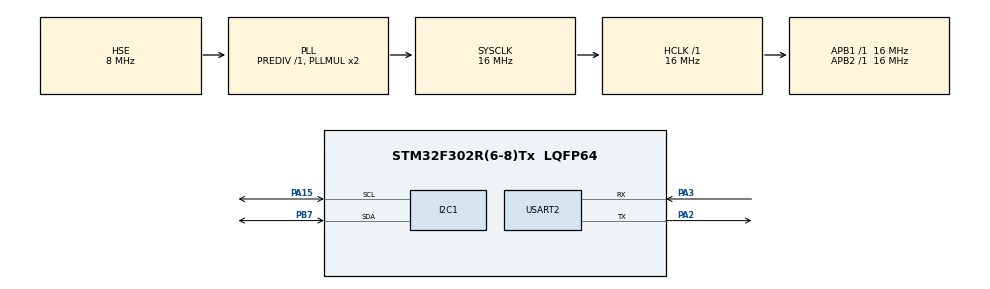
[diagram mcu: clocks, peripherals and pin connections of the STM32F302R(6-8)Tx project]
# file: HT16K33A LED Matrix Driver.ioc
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I2C1.Timing=0x00201D2B
Mcu.Family=STM32F3
Mcu.Name=STM32F302R(6-8)Tx
Mcu.Package=LQFP64
NVIC.PriorityGroup=NVIC_PRIORITYGROUP_4
PA13.Mode=Serial_Wire
PA13.Signal=SYS_JTMS-SWDIO
PA14.Mode=Serial_Wire
PA14.Signal=SYS_JTCK-SWCLK
PA15.Mode=I2C
PA15.Signal=I2C1_SCL
PA2.Mode=Asynchronous
PA2.Signal=USART2_TX
PA3.Mode=Asynchronous
PA3.Signal=USART2_RX
PB7.Mode=I2C
PB7.Signal=I2C1_SDA
PF0-OSC_IN.Mode=HSE-External-Oscillator
PF0-OSC_IN.Signal=RCC_OSC_IN
PF1-OSC_OUT.Mode=HSE-External-Oscillator
PF1-OSC_OUT.Signal=RCC_OSC_OUT
ProjectManager.HeapSize=0x200
ProjectManager.StackSize=0x400
ProjectManager.TargetToolchain=STM32CubeIDE
RCC.AHBFreq_Value=16000000
RCC.APB1Freq_Value=16000000
RCC.APB1TimFreq_Value=16000000
RCC.APB2Freq_Value=16000000
RCC.APB2TimFreq_Value=16000000
RCC.CortexFreq_Value=16000000
RCC.HCLKFreq_Value=16000000
RCC.HSE_VALUE=8000000
RCC.HSI_VALUE=8000000
RCC.LSE_VALUE=32768
RCC.PLLSourceVirtual=RCC_PLLSOURCE_HSE
RCC.SYSCLKFreq_VALUE=16000000
RCC.SYSCLKSourceVirtual=RCC_SYSCLKSOURCE_PLLCLK
RCC.USBFreq_Value=16000000
USART2.VirtualMode-Asynchronous=VM_ASYNC
board=custom

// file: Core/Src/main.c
/* USER CODE BEGIN Header */
/**
  ******************************************************************************
  * @file           : main.c
  * @brief          : Main program body
  ******************************************************************************
  * @attention
  *
  * Copyright (c) 2025 STMicroelectronics.
  * All rights reserved.
  *
  * This software is licensed under terms that can be found in the LICENSE file
  * in the root directory of this software component.
  * If no LICENSE file comes with this software, it is provided AS-IS.
  *
  ******************************************************************************
  */
/* USER CODE END Header */
#include "main.h"

/* USER CODE BEGIN Includes */
#include <stdio.h>

#include "HT16K33A.h"
/* USER CODE END Includes */

I2C_HandleTypeDef hi2c1;

UART_HandleTypeDef huart2;

/* USER CODE BEGIN PV */
HT16K33A_t dev;
uint8_t dev_addr = HT16K33A_ADDR_1;

char message[15];
/* USER CODE END PV */

void SystemClock_Config(void);
static void MX_GPIO_Init(void);
static void MX_I2C1_Init(void);
static void MX_USART2_UART_Init(void);

int main(void)
{

  /* MCU Configuration--------------------------------------------------------*/

  /* Reset of all peripherals, Initializes the Flash interface and the Systick. */
  HAL_Init();

  /* Configure the system clock */
  SystemClock_Config();

  /* Initialize all configured peripherals */
  MX_GPIO_Init();
  MX_I2C1_Init();
  MX_USART2_UART_Init();
  /* USER CODE BEGIN 2 */
  HT16K33A_Init(&dev, &hi2c1, dev_addr);

  uint8_t data[8] = {
		  0b00000000,
		  0b01100110,
		  0b10011001,
		  0b10000001,
		  0b01000010,
		  0b00100100,
		  0b00011000,
		  0b00000000
  };
  HT16K33A_SetAll(&dev, data);

//  HT16K33A_SetColumn(&dev, 0x2, 0b10011001);
//  HAL_StatusTypeDef status = HT16K33A_SetColumn(&dev, 0x2, 0b10011001);
//  HAL_StatusTypeDef status = HT16K33A_SetSingle(&dev, 0, 0, 1);
//  sprintf (message, "%s\r\n", (status == HAL_OK ? "OK" : (status == HAL_ERROR ? "ERROR" : (status == HAL_BUSY ? "BUSY" : (status == HAL_TIMEOUT ? "TIMEOUT" : "NOTHING")))));
//  HAL_UART_Transmit (&huart2, (uint8_t *) message, 15, HAL_MAX_DELAY);
  /* USER CODE END 2 */

  /* Infinite loop */
  while (1)
  {

  }
}

void SystemClock_Config(void)
{
  RCC_OscInitTypeDef RCC_OscInitStruct = {0};
  RCC_ClkInitTypeDef RCC_ClkInitStruct = {0};
  RCC_PeriphCLKInitTypeDef PeriphClkInit = {0};

  /** Initializes the RCC Oscillators according to the specified parameters
  * in the RCC_OscInitTypeDef structure.
  */
  RCC_OscInitStruct.OscillatorType = RCC_OSCILLATORTYPE_HSI|RCC_OSCILLATORTYPE_HSE;
  RCC_OscInitStruct.HSEState = RCC_HSE_ON;
  RCC_OscInitStruct.HSEPredivValue = RCC_HSE_PREDIV_DIV1;
  RCC_OscInitStruct.HSIState = RCC_HSI_ON;
  RCC_OscInitStruct.HSICalibrationValue = RCC_HSICALIBRATION_DEFAULT;
  RCC_OscInitStruct.PLL.PLLState = RCC_PLL_ON;
  RCC_OscInitStruct.PLL.PLLSource = RCC_PLLSOURCE_HSE;
  RCC_OscInitStruct.PLL.PLLMUL = RCC_PLL_MUL2;
  if (HAL_RCC_OscConfig(&RCC_OscInitStruct) != HAL_OK)
  {
    Error_Handler();
  }

  /** Initializes the CPU, AHB and APB buses clocks
  */
  RCC_ClkInitStruct.ClockType = RCC_CLOCKTYPE_HCLK|RCC_CLOCKTYPE_SYSCLK
                              |RCC_CLOCKTYPE_PCLK1|RCC_CLOCKTYPE_PCLK2;
  RCC_ClkInitStruct.SYSCLKSource = RCC_SYSCLKSOURCE_PLLCLK;
  RCC_ClkInitStruct.AHBCLKDivider = RCC_SYSCLK_DIV1;
  RCC_ClkInitStruct.APB1CLKDivider = RCC_HCLK_DIV1;
  RCC_ClkInitStruct.APB2CLKDivider = RCC_HCLK_DIV1;

  if (HAL_RCC_ClockConfig(&RCC_ClkInitStruct, FLASH_LATENCY_0) != HAL_OK)
  {
    Error_Handler();
  }
  PeriphClkInit.PeriphClockSelection = RCC_PERIPHCLK_I2C1;
  PeriphClkInit.I2c1ClockSelection = RCC_I2C1CLKSOURCE_HSI;
  if (HAL_RCCEx_PeriphCLKConfig(&PeriphClkInit) != HAL_OK)
  {
    Error_Handler();
  }
}

static void MX_I2C1_Init(void)
{

  hi2c1.Instance = I2C1;
  hi2c1.Init.Timing = 0x00201D2B;
  hi2c1.Init.OwnAddress1 = 0;
  hi2c1.Init.AddressingMode = I2C_ADDRESSINGMODE_7BIT;
  hi2c1.Init.DualAddressMode = I2C_DUALADDRESS_DISABLE;
  hi2c1.Init.OwnAddress2 = 0;
  hi2c1.Init.OwnAddress2Masks = I2C_OA2_NOMASK;
  hi2c1.Init.GeneralCallMode = I2C_GENERALCALL_DISABLE;
  hi2c1.Init.NoStretchMode = I2C_NOSTRETCH_DISABLE;
  if (HAL_I2C_Init(&hi2c1) != HAL_OK)
  {
    Error_Handler();
  }

  /** Configure Analogue filter
  */
  if (HAL_I2CEx_ConfigAnalogFilter(&hi2c1, I2C_ANALOGFILTER_ENABLE) != HAL_OK)
  {
    Error_Handler();
  }

  /** Configure Digital filter
  */
  if (HAL_I2CEx_ConfigDigitalFilter(&hi2c1, 0) != HAL_OK)
  {
    Error_Handler();
  }

}

static void MX_USART2_UART_Init(void)
{

  huart2.Instance = USART2;
  huart2.Init.BaudRate = 38400;
  huart2.Init.WordLength = UART_WORDLENGTH_8B;
  huart2.Init.StopBits = UART_STOPBITS_1;
  huart2.Init.Parity = UART_PARITY_NONE;
  huart2.Init.Mode = UART_MODE_TX_RX;
  huart2.Init.HwFlowCtl = UART_HWCONTROL_NONE;
  huart2.Init.OverSampling = UART_OVERSAMPLING_16;
  huart2.Init.OneBitSampling = UART_ONE_BIT_SAMPLE_DISABLE;
  huart2.AdvancedInit.AdvFeatureInit = UART_ADVFEATURE_NO_INIT;
  if (HAL_UART_Init(&huart2) != HAL_OK)
  {
    Error_Handler();
  }

}

static void MX_GPIO_Init(void)
{

  /* GPIO Ports Clock Enable */
  __HAL_RCC_GPIOF_CLK_ENABLE();
  __HAL_RCC_GPIOA_CLK_ENABLE();
  __HAL_RCC_GPIOB_CLK_ENABLE();

}

void Error_Handler(void)
{
  __disable_irq();
  while (1)
  {
  }
}
